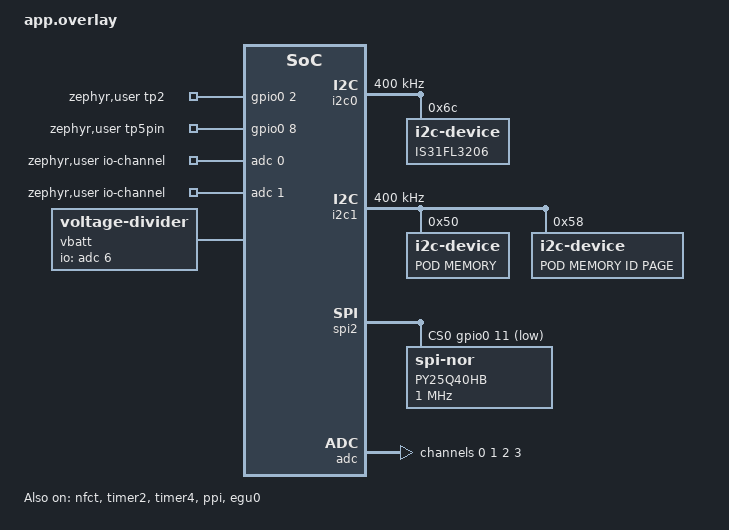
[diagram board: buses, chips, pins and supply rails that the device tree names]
/ {
	chosen {
		zephyr,code-partition = &boot_partition;
		nordic,pm-ext-flash = &py25q40hb;
	};

    zephyr,user {
		tp2_gpios = <&gpio0 2 0>;
        tp5pin_gpios = <&gpio0 8 0>;
        io-channels = <&adc 0>,<&adc 1>;
	};

    vbatt {
        compatible = "voltage-divider";
        io-channels = <&adc 6>;
        output-ohms = <180000>;
        full-ohms = <(180000 + 180000)>;
        //power-gpios = <&sx1509b 4 0>;
     };
};

&i2c0 {

	is31fl3206: is31fl3206_i2c@6c{
        compatible = "i2c-device";
        //status = "okay";
        reg = < 0x6c>;
        label = "IS31FL3206 ";
    };
    clock-frequency = <I2C_BITRATE_FAST>;
};

&i2c1 {
    podmem: pod_mem@50{
        compatible = "i2c-device";
        //status = "okay";
        reg = < 0x50>;
        label = "POD MEMORY";
    };
    podmemid: podmem_id@58{
        compatible = "i2c-device";
        //status = "okay";
        reg = < 0x58>;
        label = "POD MEMORY ID PAGE";
    };
    clock-frequency = <I2C_BITRATE_FAST>;
};


&spi2{
    cs-gpios = <&gpio0 11 GPIO_ACTIVE_LOW>;

    py25q40hb: py25q40hb@0 {
		compatible = "jedec,spi-nor";
		label = "PY25Q40HB";
		reg = <0>;
		spi-max-frequency = <1000000>;
		//wp-gpios = <&gpio0 8 GPIO_ACTIVE_LOW>;
		//hold-gpios = <&gpio0 10 GPIO_ACTIVE_LOW>;
		size = <0x400000>;
		has-dpd;
		t-enter-dpd = <3000>;
		t-exit-dpd = <30000>;
		jedec-id = [85 20 13];
		status = "okay"; 
	};
};

&nfct {
	status = "okay";
};

&timer2 {
	status = "okay";
};

&timer4 {
	status = "okay";
};

&gpiote {
	status = "okay";
};

&ppi {
	status = "okay";
};

&adc {
	status = "okay";
    compatible = "nordic,nrf-saadc";    
	#address-cells = <1>;
	#size-cells = <0>;

	channel@0 {
		reg = <0>;
		zephyr,gain = "ADC_GAIN_1_6";
		zephyr,reference = "ADC_REF_INTERNAL";
		zephyr,acquisition-time = <ADC_ACQ_TIME_DEFAULT>;
		zephyr,input-positive = <NRF_SAADC_AIN6>;
		zephyr,resolution = <12>;
	};

    channel@1 {
		reg = <1>;
		zephyr,gain = "ADC_GAIN_1_6";
		zephyr,reference = "ADC_REF_INTERNAL";
		zephyr,acquisition-time = <ADC_ACQ_TIME_DEFAULT>;
		zephyr,input-positive = <NRF_SAADC_AIN7>;
		zephyr,resolution = <12>;
	};

    channel@2 {
		reg = <2>;
		zephyr,gain = "ADC_GAIN_1_6";
		zephyr,reference = "ADC_REF_INTERNAL";
		zephyr,acquisition-time = <ADC_ACQ_TIME_DEFAULT>;
		zephyr,input-positive = <NRF_SAADC_AIN2>;
		zephyr,resolution = <12>;
	};


    channel@3 {
		reg = <3>;
		zephyr,gain = "ADC_GAIN_1_6";
		zephyr,reference = "ADC_REF_INTERNAL";
		zephyr,acquisition-time = <ADC_ACQ_TIME_DEFAULT>;
		zephyr,input-positive = <NRF_SAADC_AIN5>;
		zephyr,resolution = <12>;
	};
};

&egu0 {
    status = "okay";
};

&comp {
	compatible = "nordic,nrf-lpcomp";
};
